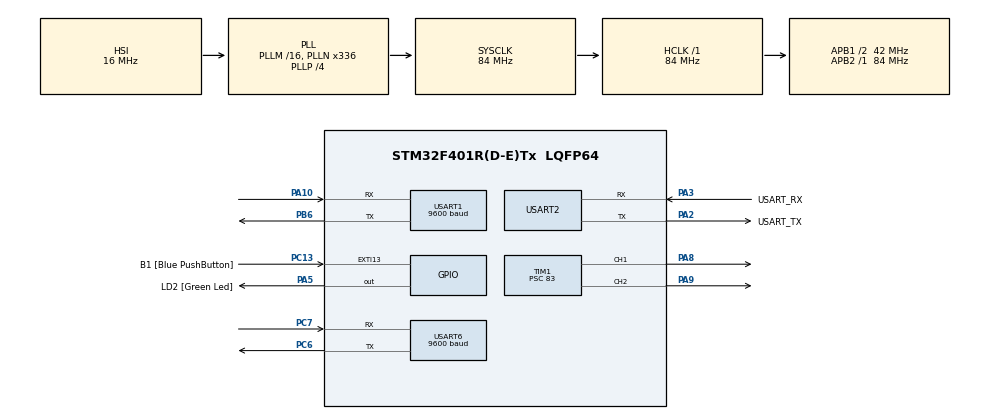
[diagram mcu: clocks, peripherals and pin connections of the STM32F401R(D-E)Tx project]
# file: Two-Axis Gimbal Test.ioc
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Mcu.Family=STM32F4
Mcu.Name=STM32F401R(D-E)Tx
Mcu.Package=LQFP64
NVIC.PriorityGroup=NVIC_PRIORITYGROUP_0
NVIC.TIM2_IRQn=true\:0\:0\:false\:false\:true\:true\:true\:true
NVIC.TIM3_IRQn=true\:0\:0\:false\:false\:true\:true\:true\:true
NVIC.USART1_IRQn=true\:0\:0\:false\:false\:true\:true\:true\:true
NVIC.USART6_IRQn=true\:0\:0\:false\:false\:true\:true\:true\:true
PA10.Mode=Asynchronous
PA10.Signal=USART1_RX
PA13.GPIO_Label=TMS
PA13.Mode=Serial_Wire
PA13.Signal=SYS_JTMS-SWDIO
PA14.GPIO_Label=TCK
PA14.Mode=Serial_Wire
PA14.Signal=SYS_JTCK-SWCLK
PA2.GPIO_Label=USART_TX
PA2.GPIO_Mode=GPIO_MODE_AF_PP
PA2.GPIO_PuPd=GPIO_NOPULL
PA2.GPIO_Speed=GPIO_SPEED_FREQ_LOW
PA2.Mode=Asynchronous
PA2.Signal=USART2_TX
PA3.GPIO_Label=USART_RX
PA3.GPIO_Mode=GPIO_MODE_AF_PP
PA3.GPIO_PuPd=GPIO_NOPULL
PA3.GPIO_Speed=GPIO_SPEED_FREQ_LOW
PA3.Mode=Asynchronous
PA3.Signal=USART2_RX
PA5.GPIO_Label=LD2 [Green Led]
PA5.GPIO_Mode=GPIO_MODE_OUTPUT_PP
PA5.GPIO_PuPd=GPIO_NOPULL
PA5.GPIO_Speed=GPIO_SPEED_FREQ_LOW
PA5.Signal=GPIO_Output
PA8.Signal=S_TIM1_CH1
PA9.Signal=S_TIM1_CH2
PB3.GPIO_Label=SWO
PB3.Signal=SYS_JTDO-SWO
PB6.Mode=Asynchronous
PB6.Signal=USART1_TX
PC13-ANTI_TAMP.GPIO_Label=B1 [Blue PushButton]
PC13-ANTI_TAMP.GPIO_ModeDefaultEXTI=GPIO_MODE_IT_FALLING
PC13-ANTI_TAMP.GPIO_PuPd=GPIO_NOPULL
PC13-ANTI_TAMP.Signal=GPXTI13
PC14-OSC32_IN.Mode=LSE-External-Oscillator
PC14-OSC32_IN.Signal=RCC_OSC32_IN
PC15-OSC32_OUT.Mode=LSE-External-Oscillator
PC15-OSC32_OUT.Signal=RCC_OSC32_OUT
PC6.Mode=Asynchronous
PC6.Signal=USART6_TX
PC7.Mode=Asynchronous
PC7.Signal=USART6_RX
PH0\ -\ OSC_IN.Mode=HSE-External-Clock-Source
PH0\ -\ OSC_IN.Signal=RCC_OSC_IN
PH1\ -\ OSC_OUT.Mode=HSE-External-Clock-Source
PH1\ -\ OSC_OUT.Signal=RCC_OSC_OUT
ProjectManager.HeapSize=0x200
ProjectManager.StackSize=0x400
ProjectManager.TargetToolchain=STM32CubeIDE
RCC.48MHZClocksFreq_Value=48000000
RCC.AHBFreq_Value=84000000
RCC.APB1CLKDivider=RCC_HCLK_DIV2
RCC.APB1Freq_Value=42000000
RCC.APB1TimFreq_Value=84000000
RCC.APB2Freq_Value=84000000
RCC.APB2TimFreq_Value=84000000
RCC.CortexFreq_Value=84000000
RCC.HCLKFreq_Value=84000000
RCC.HSE_VALUE=8000000
RCC.HSI_VALUE=16000000
RCC.PLLN=336
RCC.PLLP=RCC_PLLP_DIV4
RCC.PLLQ=7
RCC.SYSCLKFreq_VALUE=84000000
RCC.SYSCLKSource=RCC_SYSCLKSOURCE_PLLCLK
RCC.VCOOutputFreq_Value=336000000
SH.S_TIM1_CH1.0=TIM1_CH1,PWM Generation1 CH1
SH.S_TIM1_CH2.0=TIM1_CH2,PWM Generation2 CH2
TIM1.Channel-PWM\ Generation1\ CH1=TIM_CHANNEL_1
TIM1.Channel-PWM\ Generation2\ CH2=TIM_CHANNEL_2
TIM1.Period=19999
TIM1.Prescaler=83
TIM2.Period=399
TIM2.Prescaler=8399
TIM3.Period=10000
TIM3.Prescaler=8399
USART1.BaudRate=9600
USART1.VirtualMode=VM_ASYNC
USART2.VirtualMode=VM_ASYNC
USART6.BaudRate=9600
USART6.VirtualMode=VM_ASYNC
VP_TIM1_VS_ClockSourceINT.Mode=Internal
VP_TIM2_VS_ClockSourceINT.Mode=Internal
VP_TIM3_VS_ClockSourceINT.Mode=Internal
board=NUCLEO-F401RE

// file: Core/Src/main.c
/* USER CODE BEGIN Header */
/**
  ******************************************************************************
  * @file           : main.c
  * @brief          : Main program body
  ******************************************************************************
  * @attention
  *
  * Copyright (c) 2025 STMicroelectronics.
  * All rights reserved.
  *
  * This software is licensed under terms that can be found in the LICENSE file
  * in the root directory of this software component.
  * If no LICENSE file comes with this software, it is provided AS-IS.
  *
  ******************************************************************************
  */
/* USER CODE END Header */
#include "main.h"

/* USER CODE BEGIN Includes */
#include "math.h"
#include <stdbool.h>
#include <stdio.h>
#include "string.h"

/* USER CODE END Includes */

/* USER CODE BEGIN PD */
#define TIM1_ARR 			19999

#define SERVO_DUTY_MIN 		650.0
#define SERVO_DUTY_BW		1700.0
#define SERVO_ANGLE_MAX		180

#define SERVO1_START 		0
#define SERVO1_END			93
#define SERVO1_MAX_SPEED	12

#define SERVO2_START		20
#define SERVO2_END			155
#define SERVO2_SPEED		1

#define MAX_BARCODE_LEN		20
#define MAX_BARCODES		100

/* USER CODE END PD */

TIM_HandleTypeDef htim1;
TIM_HandleTypeDef htim2;
TIM_HandleTypeDef htim3;

UART_HandleTypeDef huart1;
UART_HandleTypeDef huart2;
UART_HandleTypeDef huart6;

/* USER CODE BEGIN PV */
bool servoFlag = false;
uint8_t uartRxBuffer[MAX_BARCODES][MAX_BARCODE_LEN] = {0};
uint8_t uartTxBuffer[MAX_BARCODE_LEN + 1] = {0};
uint8_t txLen = 0;
volatile uint8_t barcodeIndex = 0;  // Tracks current barcode index
volatile uint8_t charIndex = 0; // Tracks character position in current message
uint8_t rxChar;

uint8_t clearBarcodeTimeCount = 0;
/* USER CODE END PV */

void SystemClock_Config(void);
static void MX_GPIO_Init(void);
static void MX_USART2_UART_Init(void);
static void MX_TIM1_Init(void);
static void MX_TIM2_Init(void);
static void MX_USART1_UART_Init(void);
static void MX_USART6_UART_Init(void);
static void MX_TIM3_Init(void);
/* USER CODE BEGIN PFP */
void SetServoAngle (uint32_t channel, uint8_t angle);

/* USER CODE END PFP */

/* USER CODE BEGIN 0 */
// Redirecting the printf function to print to the console (over UART2)
int _write(int file, char *data, int len) {
    // Redirect printf to UART
    HAL_UART_Transmit(&huart2, (uint8_t*)data, len, HAL_MAX_DELAY);
    return len;
}
/* USER CODE END 0 */

int main(void)
{

  /* MCU Configuration--------------------------------------------------------*/

  /* Reset of all peripherals, Initializes the Flash interface and the Systick. */
  HAL_Init();

  /* USER CODE BEGIN Init */
  uint8_t servoAng1 = SERVO1_START;
  uint8_t servoDir1 = 1;
  uint8_t servoSpeed1 = 0;
  float servoSpeedCalc = 0;

  uint8_t servoAng2 = SERVO2_START;
  uint8_t servoDir2 = 1;

  /* USER CODE END Init */

  /* Configure the system clock */
  SystemClock_Config();

  /* Initialize all configured peripherals */
  MX_GPIO_Init();
  MX_USART2_UART_Init();
  MX_TIM1_Init();
  MX_TIM2_Init();
  MX_USART1_UART_Init();
  MX_USART6_UART_Init();
  MX_TIM3_Init();
  /* USER CODE BEGIN 2 */
  HAL_TIM_PWM_Start(&htim1, TIM_CHANNEL_1);
  HAL_TIM_PWM_Start(&htim1, TIM_CHANNEL_2);
  SetServoAngle(TIM_CHANNEL_1, SERVO1_START);
  SetServoAngle(TIM_CHANNEL_2, SERVO2_START);
  HAL_Delay(3000);
  HAL_TIM_Base_Start_IT(&htim2);
  HAL_TIM_Base_Start_IT(&htim3);

  // Begin receiving from both UART channels
  HAL_UART_Receive_IT(&huart1, &rxChar, 1);
  HAL_UART_Receive_IT(&huart6, &rxChar, 1);
  /* USER CODE END 2 */

  /* Infinite loop */
  /* USER CODE BEGIN WHILE */
  while (1)
  {
	  // Update servo positions when timer interrupt flag raised
	  if (servoFlag) {
		  servoFlag = 0;

		  // Servo 1 (pitch axis): Update speed using a quadratic equation
		  servoSpeedCalc = SERVO1_MAX_SPEED*(-0.000395501*servoAng1*servoAng1 + 0.0379681*servoAng1 + 0.0896552);
		  servoSpeed1 = ((uint8_t)servoSpeedCalc);
		  servoAng1 += servoSpeed1*servoDir1;
		  // Switch direction if max/min value reached
		  if (servoAng1 >= SERVO1_END) servoDir1 = -1;
		  if (servoAng1 <= SERVO1_START) servoDir1 = 1;
		  SetServoAngle(TIM_CHANNEL_1, servoAng1);

		  // Servo 2 (yaw axis): Increment position by speed value
		  servoAng2 += SERVO2_SPEED*servoDir2;
		  // Switch direction if max/min value reached
		  if (servoAng2 >= SERVO2_END) servoDir2 = -1;
		  if (servoAng2 <= SERVO2_START) servoDir2 = 1;
		  SetServoAngle(TIM_CHANNEL_2, servoAng2);
	  }

	  if (clearBarcodeTimeCount >= 10) {
		  clearBarcodeTimeCount = 0;

		  // Output all barcodes stored
		  printf("\nReceived %d barcodes:\r\n", barcodeIndex);
		  for (int i = 0; i < barcodeIndex; i++) {
			  for (int j = 0; j < MAX_BARCODE_LEN; j++) {
				  if (uartRxBuffer[i][j] == '\0') {
					  txLen = j-1;
					  break;
				  }
				  uartTxBuffer[j] = uartRxBuffer[i][j];
			  }
			  HAL_UART_Transmit(&huart2, uartTxBuffer, (txLen + 1), HAL_MAX_DELAY);
			  HAL_UART_Transmit(&huart2, (uint8_t*)"\r\n", 2, HAL_MAX_DELAY);
		  }
		  barcodeIndex = 0;
	  }

    /* USER CODE END WHILE */

  }
}

void SystemClock_Config(void)
{
  RCC_OscInitTypeDef RCC_OscInitStruct = {0};
  RCC_ClkInitTypeDef RCC_ClkInitStruct = {0};

  /** Configure the main internal regulator output voltage
  */
  __HAL_RCC_PWR_CLK_ENABLE();
  __HAL_PWR_VOLTAGESCALING_CONFIG(PWR_REGULATOR_VOLTAGE_SCALE2);

  /** Initializes the RCC Oscillators according to the specified parameters
  * in the RCC_OscInitTypeDef structure.
  */
  RCC_OscInitStruct.OscillatorType = RCC_OSCILLATORTYPE_HSI;
  RCC_OscInitStruct.HSIState = RCC_HSI_ON;
  RCC_OscInitStruct.HSICalibrationValue = RCC_HSICALIBRATION_DEFAULT;
  RCC_OscInitStruct.PLL.PLLState = RCC_PLL_ON;
  RCC_OscInitStruct.PLL.PLLSource = RCC_PLLSOURCE_HSI;
  RCC_OscInitStruct.PLL.PLLM = 16;
  RCC_OscInitStruct.PLL.PLLN = 336;
  RCC_OscInitStruct.PLL.PLLP = RCC_PLLP_DIV4;
  RCC_OscInitStruct.PLL.PLLQ = 7;
  if (HAL_RCC_OscConfig(&RCC_OscInitStruct) != HAL_OK)
  {
    Error_Handler();
  }

  /** Initializes the CPU, AHB and APB buses clocks
  */
  RCC_ClkInitStruct.ClockType = RCC_CLOCKTYPE_HCLK|RCC_CLOCKTYPE_SYSCLK
                              |RCC_CLOCKTYPE_PCLK1|RCC_CLOCKTYPE_PCLK2;
  RCC_ClkInitStruct.SYSCLKSource = RCC_SYSCLKSOURCE_PLLCLK;
  RCC_ClkInitStruct.AHBCLKDivider = RCC_SYSCLK_DIV1;
  RCC_ClkInitStruct.APB1CLKDivider = RCC_HCLK_DIV2;
  RCC_ClkInitStruct.APB2CLKDivider = RCC_HCLK_DIV1;

  if (HAL_RCC_ClockConfig(&RCC_ClkInitStruct, FLASH_LATENCY_2) != HAL_OK)
  {
    Error_Handler();
  }
}

static void MX_TIM1_Init(void)
{

  TIM_ClockConfigTypeDef sClockSourceConfig = {0};
  TIM_MasterConfigTypeDef sMasterConfig = {0};
  TIM_OC_InitTypeDef sConfigOC = {0};
  TIM_BreakDeadTimeConfigTypeDef sBreakDeadTimeConfig = {0};

  htim1.Instance = TIM1;
  htim1.Init.Prescaler = 83;
  htim1.Init.CounterMode = TIM_COUNTERMODE_UP;
  htim1.Init.Period = 19999;
  htim1.Init.ClockDivision = TIM_CLOCKDIVISION_DIV1;
  htim1.Init.RepetitionCounter = 0;
  htim1.Init.AutoReloadPreload = TIM_AUTORELOAD_PRELOAD_DISABLE;
  if (HAL_TIM_Base_Init(&htim1) != HAL_OK)
  {
    Error_Handler();
  }
  sClockSourceConfig.ClockSource = TIM_CLOCKSOURCE_INTERNAL;
  if (HAL_TIM_ConfigClockSource(&htim1, &sClockSourceConfig) != HAL_OK)
  {
    Error_Handler();
  }
  if (HAL_TIM_PWM_Init(&htim1) != HAL_OK)
  {
    Error_Handler();
  }
  sMasterConfig.MasterOutputTrigger = TIM_TRGO_RESET;
  sMasterConfig.MasterSlaveMode = TIM_MASTERSLAVEMODE_DISABLE;
  if (HAL_TIMEx_MasterConfigSynchronization(&htim1, &sMasterConfig) != HAL_OK)
  {
    Error_Handler();
  }
  sConfigOC.OCMode = TIM_OCMODE_PWM1;
  sConfigOC.Pulse = 0;
  sConfigOC.OCPolarity = TIM_OCPOLARITY_HIGH;
  sConfigOC.OCNPolarity = TIM_OCNPOLARITY_HIGH;
  sConfigOC.OCFastMode = TIM_OCFAST_DISABLE;
  sConfigOC.OCIdleState = TIM_OCIDLESTATE_RESET;
  sConfigOC.OCNIdleState = TIM_OCNIDLESTATE_RESET;
  if (HAL_TIM_PWM_ConfigChannel(&htim1, &sConfigOC, TIM_CHANNEL_1) != HAL_OK)
  {
    Error_Handler();
  }
  if (HAL_TIM_PWM_ConfigChannel(&htim1, &sConfigOC, TIM_CHANNEL_2) != HAL_OK)
  {
    Error_Handler();
  }
  sBreakDeadTimeConfig.OffStateRunMode = TIM_OSSR_DISABLE;
  sBreakDeadTimeConfig.OffStateIDLEMode = TIM_OSSI_DISABLE;
  sBreakDeadTimeConfig.LockLevel = TIM_LOCKLEVEL_OFF;
  sBreakDeadTimeConfig.DeadTime = 0;
  sBreakDeadTimeConfig.BreakState = TIM_BREAK_DISABLE;
  sBreakDeadTimeConfig.BreakPolarity = TIM_BREAKPOLARITY_HIGH;
  sBreakDeadTimeConfig.AutomaticOutput = TIM_AUTOMATICOUTPUT_DISABLE;
  if (HAL_TIMEx_ConfigBreakDeadTime(&htim1, &sBreakDeadTimeConfig) != HAL_OK)
  {
    Error_Handler();
  }
  HAL_TIM_MspPostInit(&htim1);

}

static void MX_TIM2_Init(void)
{

  TIM_ClockConfigTypeDef sClockSourceConfig = {0};
  TIM_MasterConfigTypeDef sMasterConfig = {0};

  htim2.Instance = TIM2;
  htim2.Init.Prescaler = 8399;
  htim2.Init.CounterMode = TIM_COUNTERMODE_UP;
  htim2.Init.Period = 399;
  htim2.Init.ClockDivision = TIM_CLOCKDIVISION_DIV1;
  htim2.Init.AutoReloadPreload = TIM_AUTORELOAD_PRELOAD_DISABLE;
  if (HAL_TIM_Base_Init(&htim2) != HAL_OK)
  {
    Error_Handler();
  }
  sClockSourceConfig.ClockSource = TIM_CLOCKSOURCE_INTERNAL;
  if (HAL_TIM_ConfigClockSource(&htim2, &sClockSourceConfig) != HAL_OK)
  {
    Error_Handler();
  }
  sMasterConfig.MasterOutputTrigger = TIM_TRGO_RESET;
  sMasterConfig.MasterSlaveMode = TIM_MASTERSLAVEMODE_DISABLE;
  if (HAL_TIMEx_MasterConfigSynchronization(&htim2, &sMasterConfig) != HAL_OK)
  {
    Error_Handler();
  }

}

static void MX_TIM3_Init(void)
{

  TIM_ClockConfigTypeDef sClockSourceConfig = {0};
  TIM_MasterConfigTypeDef sMasterConfig = {0};

  htim3.Instance = TIM3;
  htim3.Init.Prescaler = 8399;
  htim3.Init.CounterMode = TIM_COUNTERMODE_UP;
  htim3.Init.Period = 10000;
  htim3.Init.ClockDivision = TIM_CLOCKDIVISION_DIV1;
  htim3.Init.AutoReloadPreload = TIM_AUTORELOAD_PRELOAD_DISABLE;
  if (HAL_TIM_Base_Init(&htim3) != HAL_OK)
  {
    Error_Handler();
  }
  sClockSourceConfig.ClockSource = TIM_CLOCKSOURCE_INTERNAL;
  if (HAL_TIM_ConfigClockSource(&htim3, &sClockSourceConfig) != HAL_OK)
  {
    Error_Handler();
  }
  sMasterConfig.MasterOutputTrigger = TIM_TRGO_RESET;
  sMasterConfig.MasterSlaveMode = TIM_MASTERSLAVEMODE_DISABLE;
  if (HAL_TIMEx_MasterConfigSynchronization(&htim3, &sMasterConfig) != HAL_OK)
  {
    Error_Handler();
  }

}

static void MX_USART1_UART_Init(void)
{

  huart1.Instance = USART1;
  huart1.Init.BaudRate = 9600;
  huart1.Init.WordLength = UART_WORDLENGTH_8B;
  huart1.Init.StopBits = UART_STOPBITS_1;
  huart1.Init.Parity = UART_PARITY_NONE;
  huart1.Init.Mode = UART_MODE_TX_RX;
  huart1.Init.HwFlowCtl = UART_HWCONTROL_NONE;
  huart1.Init.OverSampling = UART_OVERSAMPLING_16;
  if (HAL_UART_Init(&huart1) != HAL_OK)
  {
    Error_Handler();
  }

}

static void MX_USART2_UART_Init(void)
{

  huart2.Instance = USART2;
  huart2.Init.BaudRate = 115200;
  huart2.Init.WordLength = UART_WORDLENGTH_8B;
  huart2.Init.StopBits = UART_STOPBITS_1;
  huart2.Init.Parity = UART_PARITY_NONE;
  huart2.Init.Mode = UART_MODE_TX_RX;
  huart2.Init.HwFlowCtl = UART_HWCONTROL_NONE;
  huart2.Init.OverSampling = UART_OVERSAMPLING_16;
  if (HAL_UART_Init(&huart2) != HAL_OK)
  {
    Error_Handler();
  }

}

static void MX_USART6_UART_Init(void)
{

  huart6.Instance = USART6;
  huart6.Init.BaudRate = 9600;
  huart6.Init.WordLength = UART_WORDLENGTH_8B;
  huart6.Init.StopBits = UART_STOPBITS_1;
  huart6.Init.Parity = UART_PARITY_NONE;
  huart6.Init.Mode = UART_MODE_TX_RX;
  huart6.Init.HwFlowCtl = UART_HWCONTROL_NONE;
  huart6.Init.OverSampling = UART_OVERSAMPLING_16;
  if (HAL_UART_Init(&huart6) != HAL_OK)
  {
    Error_Handler();
  }

}

static void MX_GPIO_Init(void)
{
  GPIO_InitTypeDef GPIO_InitStruct = {0};

  /* GPIO Ports Clock Enable */
  __HAL_RCC_GPIOC_CLK_ENABLE();
  __HAL_RCC_GPIOH_CLK_ENABLE();
  __HAL_RCC_GPIOA_CLK_ENABLE();
  __HAL_RCC_GPIOB_CLK_ENABLE();

  /*Configure GPIO pin Output Level */
  HAL_GPIO_WritePin(LD2_GPIO_Port, LD2_Pin, GPIO_PIN_RESET);

  /*Configure GPIO pin : B1_Pin */
  GPIO_InitStruct.Pin = B1_Pin;
  GPIO_InitStruct.Mode = GPIO_MODE_IT_FALLING;
  GPIO_InitStruct.Pull = GPIO_NOPULL;
  HAL_GPIO_Init(B1_GPIO_Port, &GPIO_InitStruct);

  /*Configure GPIO pin : LD2_Pin */
  GPIO_InitStruct.Pin = LD2_Pin;
  GPIO_InitStruct.Mode = GPIO_MODE_OUTPUT_PP;
  GPIO_InitStruct.Pull = GPIO_NOPULL;
  GPIO_InitStruct.Speed = GPIO_SPEED_FREQ_LOW;
  HAL_GPIO_Init(LD2_GPIO_Port, &GPIO_InitStruct);

}

/* USER CODE BEGIN 4 */
void SetServoAngle (uint32_t channel, uint8_t angle) {
	if (angle >= SERVO_ANGLE_MAX) angle = SERVO_ANGLE_MAX;
	uint16_t dutyCycle = ((double)angle / 180.0)*SERVO_DUTY_BW + SERVO_DUTY_MIN;

	switch(channel) {
		case TIM_CHANNEL_1:
			__HAL_TIM_SET_COMPARE(&htim1, TIM_CHANNEL_1, dutyCycle);
			break;
		case TIM_CHANNEL_2:
			__HAL_TIM_SET_COMPARE(&htim1, TIM_CHANNEL_2, dutyCycle);
			break;
		default:
			break;
	}
}

void HAL_UART_RxCpltCallback(UART_HandleTypeDef *huart) {
    if (huart->Instance == USART1) {  // Check if it's USART1
        if (rxChar == '\n' || rxChar == '\r') {  // End of message determined by newline or return
            uartRxBuffer[barcodeIndex][charIndex] = '\0';  // Null-terminate the message
            barcodeIndex++;  // Move to the next barcode slot
            charIndex = 0;  // Reset character index

            if (barcodeIndex >= MAX_BARCODES) {  // Prevent buffer overflow
                barcodeIndex = 0;  // Overwrite old messages (circular buffer)
            }
        } else {  // Store character
            if (charIndex < MAX_BARCODE_LEN - 1) {  // Prevent overflow
                uartRxBuffer[barcodeIndex][charIndex++] = rxChar;
            }
        }

        // Restart reception for the next character
        HAL_UART_Receive_IT(&huart1, &rxChar, 1);
    }
    if (huart->Instance == USART6) {  // Check if it's USART6
        if (rxChar == '\n' || rxChar == '\r') {  // End of message determined by newline or return
        	uartRxBuffer[barcodeIndex][charIndex] = '\0';  // Null-terminate the message
            barcodeIndex++;  // Move to the next barcode slot
            charIndex = 0;  // Reset character index

            if (barcodeIndex >= MAX_BARCODES) {  // Prevent buffer overflow
                barcodeIndex = 0;  // Overwrite old messages (circular buffer)
            }
        } else {  // Store character
            if (charIndex < MAX_BARCODE_LEN - 1) {  // Prevent overflow
            	uartRxBuffer[barcodeIndex][charIndex++] = rxChar;
            }
        }

        // Restart reception for the next character
        HAL_UART_Receive_IT(&huart6, &rxChar, 1);
    }
}

void TIM2_IRQHandler(void) {
  servoFlag = 1;
  HAL_TIM_IRQHandler(&htim2);
}

void TIM3_IRQHandler(void) {
  clearBarcodeTimeCount += 1;
  HAL_TIM_IRQHandler(&htim3);
}

/* USER CODE END 4 */

void Error_Handler(void)
{
  __disable_irq();
  while (1)
  {
  }
}
